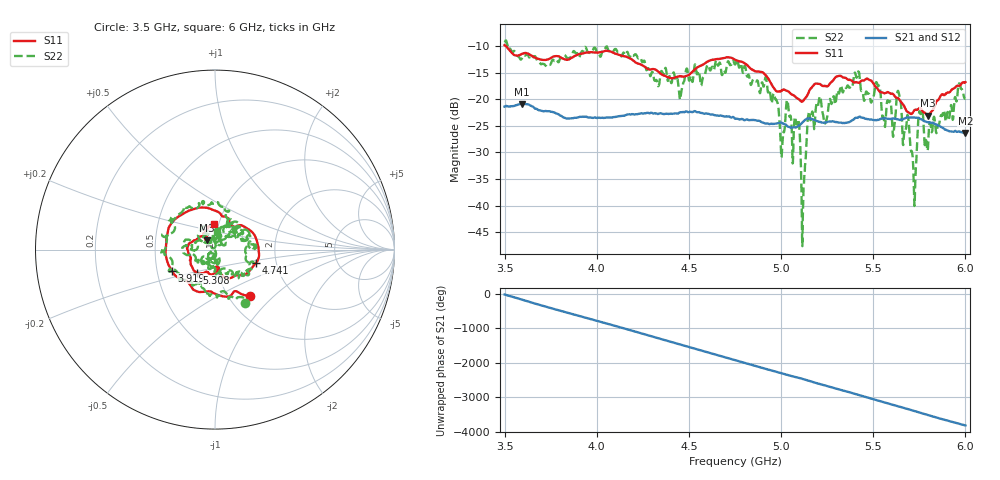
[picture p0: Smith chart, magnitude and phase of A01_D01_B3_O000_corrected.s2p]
! Created with skrf 1.9.0 (http://scikit-rf.org).
# Hz S RI R 50.0
!freq ReS11 ImS11 ReS21 ImS21 ReS12 ImS12 ReS22 ImS22
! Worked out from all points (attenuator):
!   1601 points, 3.5 GHz to 6 GHz, reference 50 ohm
!   highest |S21| = -20.87 dB at 3.592 GHz (marker M1); lowest = -26.4 dB at 6 GHz (marker M2)
!   lowest |S11| = -23.1 dB at 5.797 GHz (marker M3), VSWR 1.15, Z = 45.4 + j4.82 ohm
!   |S11| at or under -10 dB: 3.506 GHz to end of sweep
!   |S22| runs from -47.6 to -9.0 dB; largest |S21 - S12| = 0.0014
!   S11 on the Smith chart (normalised r, x): 3.5 GHz: 1.25, -0.72; 3.919 GHz: 0.60, -0.15; 4.741 GHz: 1.57, -0.25; 5.308 GHz: 0.79, -0.21; 6 GHz: 0.95, +0.28
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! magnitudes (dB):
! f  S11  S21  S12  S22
! 3.5 GHz  -9.8  -21.4  -21.4  -9.3
! 3.592 GHz  -11.5  -20.9  -20.9  -12.4
! 3.917 GHz  -11.5  -23.3  -23.3  -11.1
! 3.919 GHz  -11.4  -23.3  -23.3  -11.0
! 4.334 GHz  -14.8  -22.8  -22.7  -17.6
! 4.741 GHz  -12.4  -23.4  -23.4  -12.8
! 4.75 GHz  -12.6  -23.7  -23.6  -13.5
! 4.969 GHz  -18.3  -24.6  -24.6  -20.0
! 5.006 GHz  -18.3  -24.5  -24.5  -28.7
! 5.036 GHz  -18.5  -25.1  -25.1  -20.4
! 5.086 GHz  -19.8  -25.2  -25.2  -24.6
! 5.12 GHz  -20.3  -24.2  -24.2  -39.1
! 5.145 GHz  -19.1  -23.6  -23.6  -23.5
! 5.167 GHz  -17.8  -23.7  -23.7  -22.6
! 5.308 GHz  -15.7  -24.4  -24.3  -18.4
! 5.584 GHz  -18.8  -23.7  -23.7  -20.5
! 5.611 GHz  -19.1  -23.6  -23.6  -26.3
! 5.641 GHz  -20.0  -23.9  -23.9  -19.2
! 5.722 GHz  -22.1  -23.4  -23.4  -38.2
! 5.756 GHz  -21.7  -23.7  -23.7  -22.8
! 5.797 GHz  -23.1  -24.3  -24.3  -29.3
! 6 GHz  -16.8  -26.4  -26.3  -19.9
